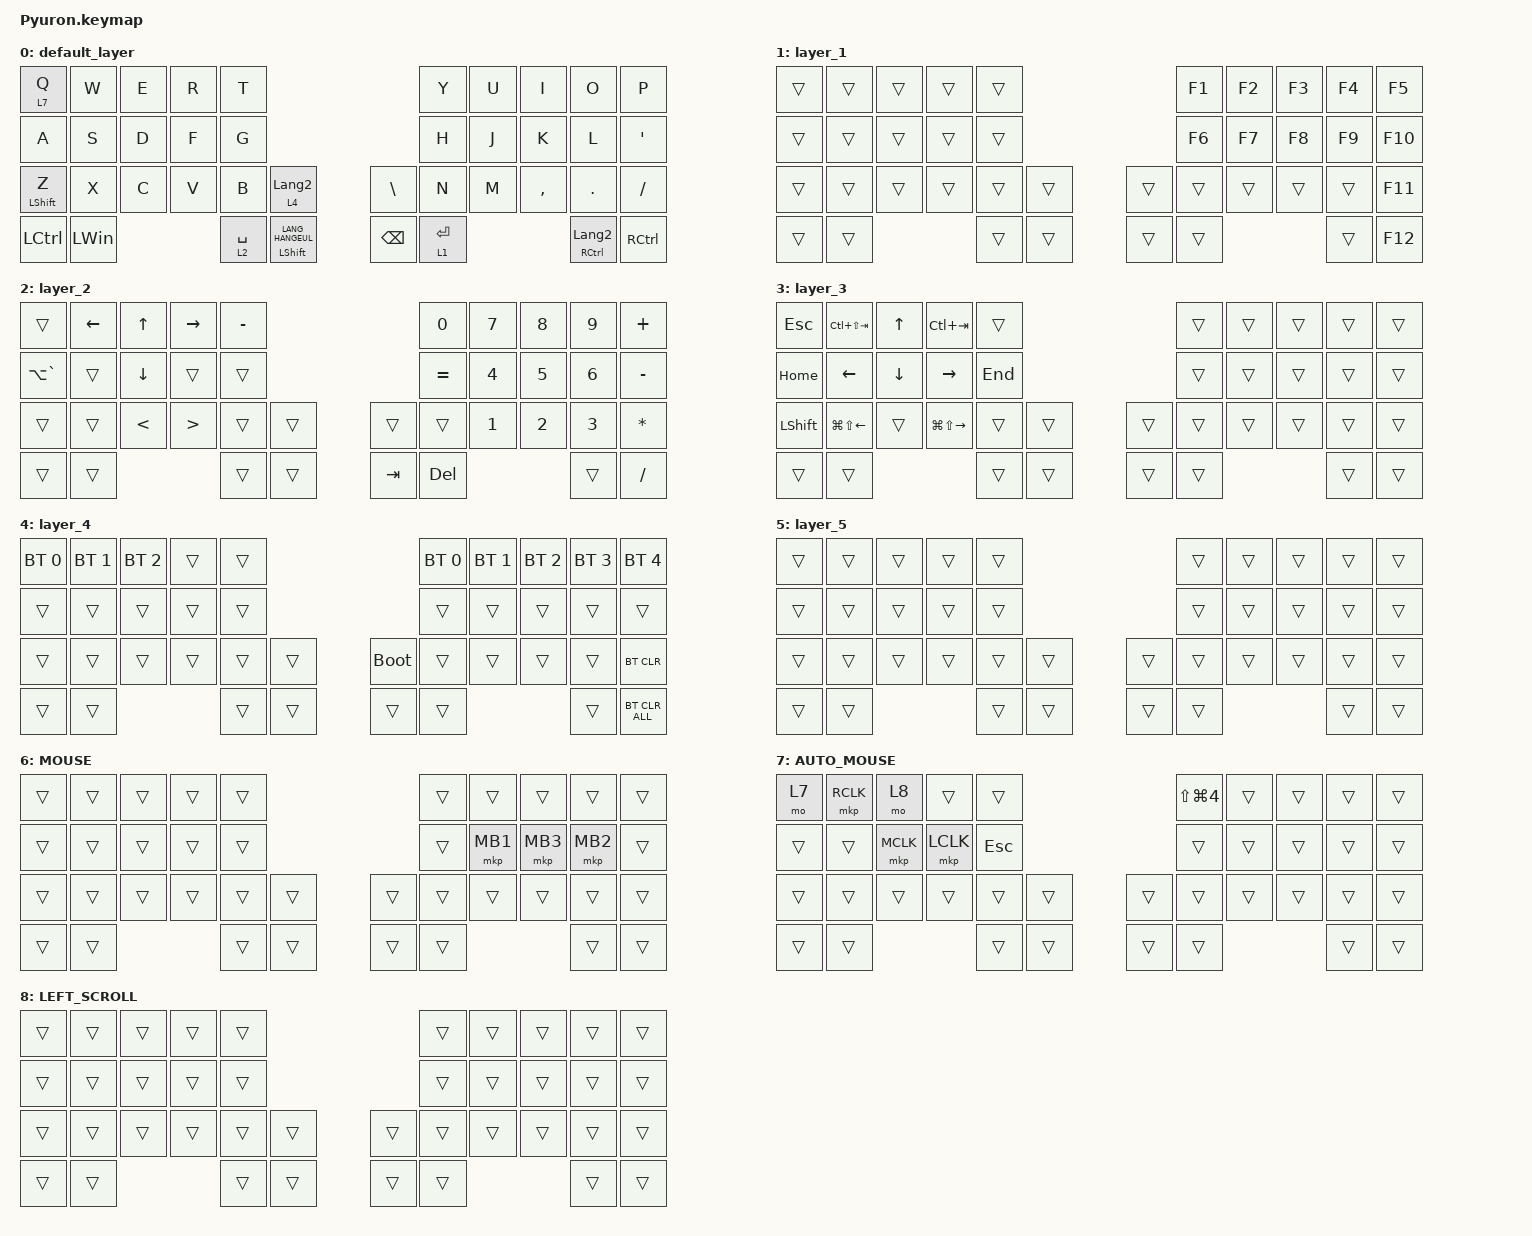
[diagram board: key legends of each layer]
#include <dt-bindings/zmk/input_transform.h>
#include <behaviors.dtsi>
#include <dt-bindings/zmk/bt.h>
#include <dt-bindings/zmk/keys.h>
#include <dt-bindings/zmk/pointing.h>

#define MOUSE 6
#define AUTO_MOUSE 7
#define LEFT_SCROLL 8

&mt {
    flavor = "balanced";
    quick-tap-ms = <0>;
};

&trackball_listener_L {
    input-processors =
        <&zip_temp_layer AUTO_MOUSE 2000>,
        <&zip_xy_transform
            (INPUT_TRANSFORM_XY_SWAP |
             INPUT_TRANSFORM_X_INVERT)>,
        <&zip_xy_scaler 1 2>;

    left_scroll {
        layers = <LEFT_SCROLL>;
        input-processors =
            <&zip_temp_layer AUTO_MOUSE 2000>,
            <&zip_xy_transform
                (INPUT_TRANSFORM_XY_SWAP |
                 INPUT_TRANSFORM_X_INVERT)>,
            <&zip_xy_scaler 1 16>,
            <&zip_scroll_scaler 1 5>,
            <&zip_xy_to_scroll_mapper>;
    };
};

/ {
    combos { compatible = "zmk,combos"; };

    macros {
        to_layer_0: to_layer_0 {
            compatible = "zmk,behavior-macro-one-param";
            #binding-cells = <1>;
            bindings = <&to 0 &macro_param_1to1 &kp MACRO_PLACEHOLDER>;
            label = "TO_LAYER_0";
        };
    };

    lt_to_layer_0: lt_to_layer_0 {
        compatible = "zmk,behavior-hold-tap";
        label = "LAYER_TAP_TO_0";
        bindings = <&mo>, <&to_layer_0>;

        #binding-cells = <2>;
        tapping-term-ms = <200>;
    };
};

/ {
    behaviors {
    };

    keymap {
        compatible = "zmk,keymap";

        default_layer {
            bindings = <
&lt 7 Q           &kp W      &kp E      &kp R         &kp T        &kp Y                        &kp U          &kp I        &kp O                         &kp P
&kp A             &kp S      &kp D      &kp F         &kp G        &kp H                        &kp J          &kp K        &kp L                         &kp SQT
&mt LEFT_SHIFT Z  &kp X      &kp C      &kp V         &kp B        &lt 4 LANGUAGE_2             &kp BACKSLASH  &kp N        &kp M                         &kp COMMA
&kp DOT           &kp SLASH  &kp LCTRL  &kp LEFT_WIN  &lt 2 SPACE  &mt LEFT_SHIFT LANG_HANGEUL  &kp BACKSPACE  &lt 1 ENTER  &mt RIGHT_CONTROL LANGUAGE_2  &kp RIGHT_CONTROL
            >;
        };

        layer_1 {
            bindings = <
&trans  &trans   &trans  &trans  &trans  &kp F1  &kp F2  &kp F3  &kp F4  &kp F5
&trans  &trans   &trans  &trans  &trans  &kp F6  &kp F7  &kp F8  &kp F9  &kp F10
&trans  &trans   &trans  &trans  &trans  &trans  &trans  &trans  &trans  &trans
&trans  &kp F11  &trans  &trans  &trans  &trans  &trans  &trans  &trans  &kp F12
            >;
        };

        layer_2 {
            bindings = <
&trans         &kp LEFT_ARROW  &kp UP_ARROW    &kp RIGHT_ARROW   &kp MINUS  &kp N0     &kp N7        &kp N8   &kp N9        &kp PLUS
&kp LA(GRAVE)  &trans          &kp DOWN_ARROW  &trans            &trans     &kp EQUAL  &kp NUMBER_4  &kp N5   &kp NUMBER_6  &kp MINUS
&trans         &trans          &kp LESS_THAN   &kp GREATER_THAN  &trans     &trans     &trans        &trans   &kp N1        &kp NUMBER_2
&kp NUMBER_3   &kp ASTERISK    &trans          &trans            &trans     &trans     &kp TAB       &kp DEL  &trans        &kp SLASH
            >;
        };

        layer_3 {
            bindings = <
&kp ESCAPE      &kp LC(LS(TAB))         &kp UP_ARROW    &kp LC(TAB)              &trans   &trans  &trans  &trans  &trans  &trans
&kp HOME        &kp LEFT_ARROW          &kp DOWN_ARROW  &kp RIGHT_ARROW          &kp END  &trans  &trans  &trans  &trans  &trans
&kp LEFT_SHIFT  &kp LG(LS(LEFT_ARROW))  &trans          &kp LG(LS(RIGHT_ARROW))  &trans   &trans  &trans  &trans  &trans  &trans
&trans          &trans                  &trans          &trans                   &trans   &trans  &trans  &trans  &trans  &trans
            >;
        };

        layer_4 {
            bindings = <
&bt BT_SEL 0  &bt BT_SEL 1  &bt BT_SEL 2  &trans  &trans  &bt BT_SEL 0  &bt BT_SEL 1  &bt BT_SEL 2  &bt BT_SEL 3  &bt BT_SEL 4
&trans        &trans        &trans        &trans  &trans  &trans        &trans        &trans        &trans        &trans
&trans        &trans        &trans        &trans  &trans  &trans        &bootloader   &trans        &trans        &trans
&trans        &bt BT_CLR    &trans        &trans  &trans  &trans        &trans        &trans        &trans        &bt BT_CLR_ALL
            >;
        };

        layer_5 {
            bindings = <
&trans  &trans  &trans  &trans  &trans  &trans  &trans  &trans  &trans  &trans
&trans  &trans  &trans  &trans  &trans  &trans  &trans  &trans  &trans  &trans
&trans  &trans  &trans  &trans  &trans  &trans  &trans  &trans  &trans  &trans
&trans  &trans  &trans  &trans  &trans  &trans  &trans  &trans  &trans  &trans
            >;
        };

        MOUSE {
            bindings = <
&trans  &trans  &trans  &trans  &trans  &trans  &trans    &trans    &trans    &trans
&trans  &trans  &trans  &trans  &trans  &trans  &mkp MB1  &mkp MB3  &mkp MB2  &trans
&trans  &trans  &trans  &trans  &trans  &trans  &trans    &trans    &trans    &trans
&trans  &trans  &trans  &trans  &trans  &trans  &trans    &trans    &trans    &trans
            >;
        };

        AUTO_MOUSE {
            bindings = <
&mo 7   &mkp RCLK  &mo 8      &trans     &trans   &kp LS(LG(NUMBER_4))  &trans  &trans  &trans  &trans
&trans  &trans     &mkp MCLK  &mkp LCLK  &kp ESC  &trans                &trans  &trans  &trans  &trans
&trans  &trans     &trans     &trans     &trans   &trans                &trans  &trans  &trans  &trans
&trans  &trans     &trans     &trans     &trans   &trans                &trans  &trans  &trans  &trans
            >;
        };

        LEFT_SCROLL {
            bindings = <
&trans  &trans  &trans  &trans  &trans  &trans  &trans  &trans  &trans  &trans
&trans  &trans  &trans  &trans  &trans  &trans  &trans  &trans  &trans  &trans
&trans  &trans  &trans  &trans  &trans  &trans  &trans  &trans  &trans  &trans
&trans  &trans  &trans  &trans  &trans  &trans  &trans  &trans  &trans  &trans
            >;
        };
    };
};
